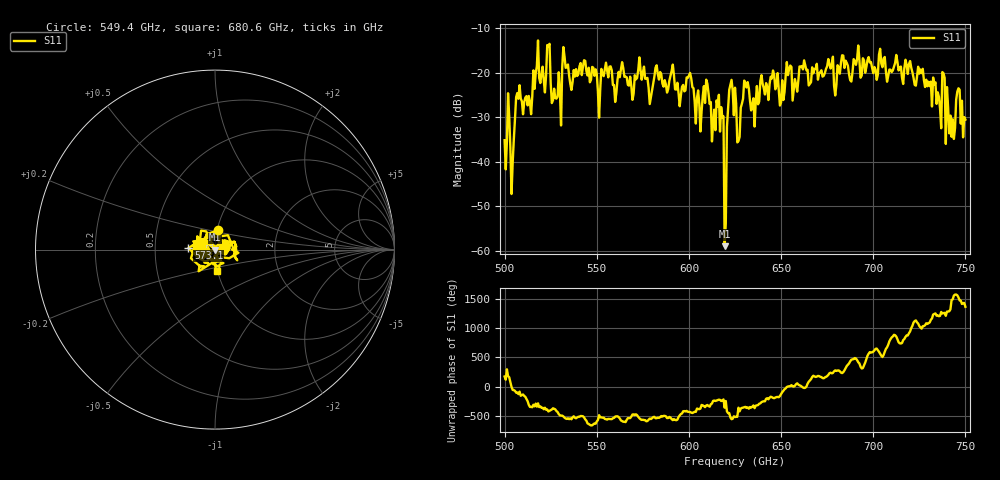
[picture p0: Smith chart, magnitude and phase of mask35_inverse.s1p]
!Created with skrf (http://scikit-rf.org).
# GHz S MA R 50.0
!freq magS11 angS11
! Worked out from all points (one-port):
!   401 points, 500 GHz to 750 GHz, reference 50 ohm
!   lowest |S11| = -58.9 dB at 619.4 GHz (marker M1), VSWR 1.00, Z = 50.1 - j0.00509 ohm
!   |S11| at or under -10 dB: start of sweep to end of sweep
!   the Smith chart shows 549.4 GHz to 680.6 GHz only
!   S11 on the Smith chart (normalised r, x): 549.4 GHz: 1.01, +0.22; 573.1 GHz: 0.74, +0.01; 680.6 GHz: 0.99, -0.24
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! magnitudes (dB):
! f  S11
! 500 GHz  -35.2
! 504.4 GHz  -40.2
! 506.9 GHz  -24.6
! 513.8 GHz  -26.7
! 516.9 GHz  -20.1
! 523.8 GHz  -14.1
! 526.9 GHz  -23.6
! 531.2 GHz  -18.9
! 549.4 GHz  -19.2
! 562.5 GHz  -21.0
! 573.1 GHz  -16.6
! 593.8 GHz  -22.3
! 600 GHz  -20.7
! 605 GHz  -24.0
! 616.2 GHz  -25.0
! 619.4 GHz  -58.9
! 620.6 GHz  -32.2
! 622.5 GHz  -22.8
! 625 GHz  -23.4
! 627.5 GHz  -34.4
! 631.2 GHz  -23.3
! 635 GHz  -25.7
! 656.2 GHz  -26.3
! 680.6 GHz  -18.3
! 687.5 GHz  -21.7
! 718.8 GHz  -20.3
! 742.5 GHz  -34.4
! 750 GHz  -30.5
